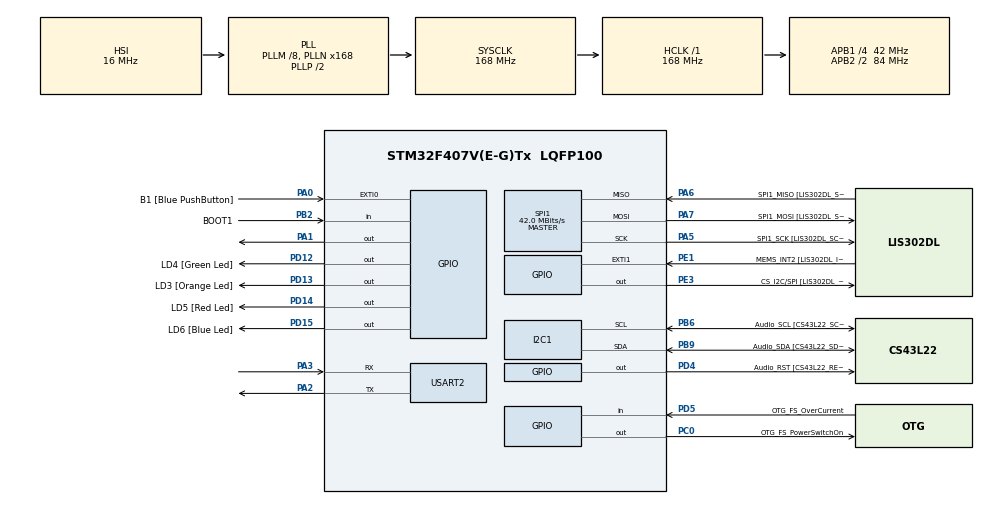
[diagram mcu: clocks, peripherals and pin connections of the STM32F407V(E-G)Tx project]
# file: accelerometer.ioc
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Mcu.Family=STM32F4
Mcu.Name=STM32F407V(E-G)Tx
Mcu.Package=LQFP100
NVIC.PriorityGroup=NVIC_PRIORITYGROUP_0
NVIC.SPI1_IRQn=true\:0\:0\:false\:false\:true\:true
NVIC.TIM6_DAC_IRQn=true\:0\:0\:false\:false\:true\:true
NVIC.USART2_IRQn=true\:0\:0\:false\:false\:true\:true
PA0-WKUP.GPIO_Label=B1 [Blue PushButton]
PA0-WKUP.Signal=GPXTI0
PA1.Signal=GPIO_Output
PA10.GPIO_Label=OTG_FS_ID
PA10.GPIO_Mode=GPIO_MODE_AF_PP
PA10.GPIO_PuPd=GPIO_NOPULL
PA10.GPIO_Speed=GPIO_SPEED_FREQ_LOW
PA10.Signal=USB_OTG_FS_ID
PA11.GPIO_Label=OTG_FS_DM
PA11.GPIO_Mode=GPIO_MODE_AF_PP
PA11.GPIO_PuPd=GPIO_NOPULL
PA11.GPIO_Speed=GPIO_SPEED_FREQ_LOW
PA11.Signal=USB_OTG_FS_DM
PA12.GPIO_Label=OTG_FS_DP
PA12.GPIO_Mode=GPIO_MODE_AF_PP
PA12.GPIO_PuPd=GPIO_NOPULL
PA12.GPIO_Speed=GPIO_SPEED_FREQ_LOW
PA12.Signal=USB_OTG_FS_DP
PA13.GPIO_Label=SWDIO
PA13.Signal=SYS_JTMS-SWDIO
PA14.GPIO_Label=SWCLK
PA14.Signal=SYS_JTCK-SWCLK
PA2.Mode=Asynchronous
PA2.Signal=USART2_TX
PA3.Mode=Asynchronous
PA3.Signal=USART2_RX
PA4.GPIO_Label=I2S3_WS [CS43L22_LRCK]
PA4.GPIO_Mode=GPIO_MODE_AF_PP
PA4.GPIO_PuPd=GPIO_NOPULL
PA4.GPIO_Speed=GPIO_SPEED_FREQ_LOW
PA4.Signal=I2S3_WS
PA5.GPIO_Label=SPI1_SCK [LIS302DL_SCL/SPC]
PA5.GPIO_Mode=GPIO_MODE_AF_PP
PA5.GPIO_PuPd=GPIO_NOPULL
PA5.GPIO_Speed=GPIO_SPEED_FREQ_LOW
PA5.Mode=Full_Duplex_Master
PA5.Signal=SPI1_SCK
PA6.GPIO_Label=SPI1_MISO [LIS302DL_SDO]
PA6.GPIO_Mode=GPIO_MODE_AF_PP
PA6.GPIO_PuPd=GPIO_NOPULL
PA6.GPIO_Speed=GPIO_SPEED_FREQ_LOW
PA6.Mode=Full_Duplex_Master
PA6.Signal=SPI1_MISO
PA7.GPIO_Label=SPI1_MOSI [LIS302DL_SDA/SDI/SDO]
PA7.GPIO_Mode=GPIO_MODE_AF_PP
PA7.GPIO_PuPd=GPIO_NOPULL
PA7.GPIO_Speed=GPIO_SPEED_FREQ_LOW
PA7.Mode=Full_Duplex_Master
PA7.Signal=SPI1_MOSI
PA9.GPIO_Label=VBUS_FS
PA9.GPIO_Mode=GPIO_MODE_INPUT
PA9.GPIO_PuPd=GPIO_NOPULL
PA9.Signal=USB_OTG_FS_VBUS
PB10.GPIO_Label=CLK_IN [MP45DT02_CLK]
PB10.GPIO_Mode=GPIO_MODE_AF_PP
PB10.GPIO_PuPd=GPIO_NOPULL
PB10.GPIO_Speed=GPIO_SPEED_FREQ_LOW
PB10.Signal=I2S2_CK
PB2.GPIO_Label=BOOT1
PB2.GPIO_Mode=GPIO_MODE_INPUT
PB2.GPIO_PuPd=GPIO_NOPULL
PB2.Signal=GPIO_Input
PB3.GPIO_Label=SWO
PB3.Signal=SYS_JTDO-SWO
PB6.GPIO_Label=Audio_SCL [CS43L22_SCL]
PB6.GPIO_Mode=GPIO_MODE_AF_OD
PB6.GPIO_PuPd=GPIO_NOPULL
PB6.GPIO_Speed=GPIO_SPEED_FREQ_LOW
PB6.Mode=I2C
PB6.Signal=I2C1_SCL
PB9.GPIO_Label=Audio_SDA [CS43L22_SDA]
PB9.GPIO_Mode=GPIO_MODE_AF_OD
PB9.GPIO_PuPd=GPIO_NOPULL
PB9.GPIO_Speed=GPIO_SPEED_FREQ_LOW
PB9.Mode=I2C
PB9.Signal=I2C1_SDA
PC0.GPIO_Label=OTG_FS_PowerSwitchOn
PC0.GPIO_PuPd=GPIO_NOPULL
PC0.GPIO_Speed=GPIO_SPEED_FREQ_LOW
PC0.PinState=GPIO_PIN_SET
PC0.Signal=GPIO_Output
PC10.GPIO_Label=I2S3_SCK [CS43L22_SCLK]
PC10.GPIO_Mode=GPIO_MODE_AF_PP
PC10.GPIO_PuPd=GPIO_NOPULL
PC10.GPIO_Speed=GPIO_SPEED_FREQ_LOW
PC10.Signal=I2S3_CK
PC12.GPIO_Label=I2S3_SD [CS43L22_SDIN]
PC12.GPIO_Mode=GPIO_MODE_AF_PP
PC12.GPIO_PuPd=GPIO_NOPULL
PC12.GPIO_Speed=GPIO_SPEED_FREQ_LOW
PC12.Signal=I2S3_SD
PC14-OSC32_IN.GPIO_Label=PC14-OSC32_IN
PC14-OSC32_IN.Signal=RCC_OSC32_IN
PC15-OSC32_OUT.GPIO_Label=PC15-OSC32_OUT
PC15-OSC32_OUT.Signal=RCC_OSC32_OUT
PC3.GPIO_Label=PDM_OUT [MP45DT02_DOUT]
PC3.GPIO_Mode=GPIO_MODE_AF_PP
PC3.GPIO_PuPd=GPIO_NOPULL
PC3.GPIO_Speed=GPIO_SPEED_FREQ_LOW
PC3.Signal=I2S2_SD
PC7.GPIO_Label=I2S3_MCK [CS43L22_MCLK]
PC7.GPIO_Mode=GPIO_MODE_AF_PP
PC7.GPIO_PuPd=GPIO_NOPULL
PC7.GPIO_Speed=GPIO_SPEED_FREQ_LOW
PC7.Signal=I2S3_MCK
PD12.GPIO_Label=LD4 [Green Led]
PD12.GPIO_PuPd=GPIO_NOPULL
PD12.GPIO_Speed=GPIO_SPEED_FREQ_LOW
PD12.Signal=GPIO_Output
PD13.GPIO_Label=LD3 [Orange Led]
PD13.GPIO_PuPd=GPIO_NOPULL
PD13.GPIO_Speed=GPIO_SPEED_FREQ_LOW
PD13.Signal=GPIO_Output
PD14.GPIO_Label=LD5 [Red Led]
PD14.GPIO_PuPd=GPIO_NOPULL
PD14.GPIO_Speed=GPIO_SPEED_FREQ_LOW
PD14.Signal=GPIO_Output
PD15.GPIO_Label=LD6 [Blue Led]
PD15.GPIO_PuPd=GPIO_NOPULL
PD15.GPIO_Speed=GPIO_SPEED_FREQ_LOW
PD15.Signal=GPIO_Output
PD4.GPIO_Label=Audio_RST [CS43L22_RESET]
PD4.GPIO_PuPd=GPIO_NOPULL
PD4.GPIO_Speed=GPIO_SPEED_FREQ_LOW
PD4.Signal=GPIO_Output
PD5.GPIO_Label=OTG_FS_OverCurrent
PD5.GPIO_Mode=GPIO_MODE_INPUT
PD5.GPIO_PuPd=GPIO_NOPULL
PD5.Signal=GPIO_Input
PE1.GPIO_Label=MEMS_INT2 [LIS302DL_INT2]
PE1.GPIO_ModeDefaultEXTI=GPIO_MODE_EVT_RISING
PE1.GPIO_PuPd=GPIO_NOPULL
PE1.Signal=GPXTI1
PE3.GPIO_Label=CS_I2C/SPI [LIS302DL_CS_I2C/SPI]
PE3.GPIO_PuPd=GPIO_NOPULL
PE3.GPIO_Speed=GPIO_SPEED_FREQ_LOW
PE3.Signal=GPIO_Output
PH0-OSC_IN.GPIO_Label=PH0-OSC_IN
PH0-OSC_IN.Signal=RCC_OSC_IN
PH1-OSC_OUT.GPIO_Label=PH1-OSC_OUT
PH1-OSC_OUT.Signal=RCC_OSC_OUT
ProjectManager.HeapSize=0x200
ProjectManager.StackSize=0x400
ProjectManager.TargetToolchain=SW4STM32
RCC.48MHZClocksFreq_Value=48000000
RCC.AHBFreq_Value=168000000
RCC.APB1CLKDivider=RCC_HCLK_DIV4
RCC.APB1Freq_Value=42000000
RCC.APB1TimFreq_Value=84000000
RCC.APB2CLKDivider=RCC_HCLK_DIV2
RCC.APB2Freq_Value=84000000
RCC.APB2TimFreq_Value=168000000
RCC.CortexFreq_Value=168000000
RCC.HCLKFreq_Value=168000000
RCC.HSE_VALUE=8000000
RCC.HSI_VALUE=16000000
RCC.LSE_VALUE=32768
RCC.PLLM=8
RCC.PLLN=168
RCC.PLLQ=7
RCC.SYSCLKFreq_VALUE=168000000
RCC.SYSCLKSource=RCC_SYSCLKSOURCE_PLLCLK
RCC.VCOOutputFreq_Value=336000000
SPI1.CalculateBaudRate=42.0 MBits/s
SPI1.Direction=SPI_DIRECTION_2LINES
SPI1.Mode=SPI_MODE_MASTER
SPI1.VirtualType=VM_MASTER
USART2.VirtualMode=VM_ASYNC
VP_TIM6_VS_ClockSourceINT.Mode=Enable_Timer
board=STM32F4DISCOVERY

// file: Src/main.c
/**
  ******************************************************************************
  * File Name          : main.c
  * Description        : Main program body
  ******************************************************************************
  ** This notice applies to any and all portions of this file
  * that are not between comment pairs USER CODE BEGIN and
  * USER CODE END. Other portions of this file, whether
  * inserted by the user or by software development tools
  * are owned by their respective copyright owners.
  *
  * COPYRIGHT(c) 2017 STMicroelectronics
  *
  * Redistribution and use in source and binary forms, with or without modification,
  * are permitted provided that the following conditions are met:
  *   1. Redistributions of source code must retain the above copyright notice,
  *      this list of conditions and the following disclaimer.
  *   2. Redistributions in binary form must reproduce the above copyright notice,
  *      this list of conditions and the following disclaimer in the documentation
  *      and/or other materials provided with the distribution.
  *   3. Neither the name of STMicroelectronics nor the names of its contributors
  *      may be used to endorse or promote products derived from this software
  *      without specific prior written permission.
  *
  * THIS SOFTWARE IS PROVIDED BY THE COPYRIGHT HOLDERS AND CONTRIBUTORS "AS IS"
  * AND ANY EXPRESS OR IMPLIED WARRANTIES, INCLUDING, BUT NOT LIMITED TO, THE
  * IMPLIED WARRANTIES OF MERCHANTABILITY AND FITNESS FOR A PARTICULAR PURPOSE ARE
  * DISCLAIMED. IN NO EVENT SHALL THE COPYRIGHT HOLDER OR CONTRIBUTORS BE LIABLE
  * FOR ANY DIRECT, INDIRECT, INCIDENTAL, SPECIAL, EXEMPLARY, OR CONSEQUENTIAL
  * DAMAGES (INCLUDING, BUT NOT LIMITED TO, PROCUREMENT OF SUBSTITUTE GOODS OR
  * SERVICES; LOSS OF USE, DATA, OR PROFITS; OR BUSINESS INTERRUPTION) HOWEVER
  * CAUSED AND ON ANY THEORY OF LIABILITY, WHETHER IN CONTRACT, STRICT LIABILITY,
  * OR TORT (INCLUDING NEGLIGENCE OR OTHERWISE) ARISING IN ANY WAY OUT OF THE USE
  * OF THIS SOFTWARE, EVEN IF ADVISED OF THE POSSIBILITY OF SUCH DAMAGE.
  *
  ******************************************************************************
  */

#include "main.h"
#include "stm32f4xx_hal.h"

/* USER CODE BEGIN Includes */
#include "stm32f4_discovery.h"
#include "stdio.h"
/* USER CODE END Includes */

I2C_HandleTypeDef hi2c1;

SPI_HandleTypeDef hspi1;

TIM_HandleTypeDef htim6;

UART_HandleTypeDef huart2;

/* USER CODE BEGIN PV */
/* Private variables ---------------------------------------------------------*/
static uint8_t echo_char;
static uint32_t timer_ms;
/* USER CODE END PV */

void SystemClock_Config(void);
static void MX_GPIO_Init(void);
static void MX_I2C1_Init(void);
static void MX_USART2_UART_Init(void);
static void MX_SPI1_Init(void);
static void MX_TIM6_Init(void);

/* USER CODE BEGIN PFP */
/* Private function prototypes -----------------------------------------------*/

/* We need to implement own __FILE struct */
/* FILE struct is used from __FILE */
struct __FILE {
    int dummy;
};

/* You need this if you want use printf */
/* Struct FILE is implemented in stdio.h */
FILE __stdout;
/* USER CODE END PFP */

/* USER CODE BEGIN 0 */
void HAL_TIM_PeriodElapsedCallback(TIM_HandleTypeDef *htim){
	BSP_LED_Toggle(LED3);
	HAL_GPIO_TogglePin(GPIOA, GPIO_PIN_1);
	timer_ms = 1;
	return;
}

int __io_putchar(uint8_t ch) {
	/* Do your stuff here */
	/* Send your custom byte */
	HAL_UART_StateTypeDef state;
	state = HAL_UART_GetState(&huart2);

	while (state == HAL_UART_STATE_BUSY_TX){
		state = HAL_UART_GetState(&huart2);
	}
	HAL_UART_Transmit(&huart2, &ch, 1, 5000);

	/* If everything is OK, you have to return character written */
	return ch;
	/* If character is not correct, you can return EOF (-1) to stop writing */
	//return -1;
}

/* USER CODE END 0 */

int main(void)
{

  /* MCU Configuration----------------------------------------------------------*/

  /* Reset of all peripherals, Initializes the Flash interface and the Systick. */
  HAL_Init();

  /* Configure the system clock */
  SystemClock_Config();

  /* Initialize all configured peripherals */
  MX_GPIO_Init();
  MX_I2C1_Init();
  MX_USART2_UART_Init();
  MX_SPI1_Init();
  MX_TIM6_Init();

  /* USER CODE BEGIN 2 */
  BSP_ACCELERO_Init();
  HAL_UART_Receive_IT(&huart2, &echo_char, 1);
  BSP_LED_Init(LED3);
  BSP_LED_Init(LED4);
  BSP_LED_Init(LED5);
  BSP_LED_Init(LED6);

  htim6.Init.Prescaler =  (uint32_t) (SystemCoreClock / 100000) - 1; // increase divider so we have more room in Period
  htim6.Init.CounterMode = TIM_COUNTERMODE_UP;
  htim6.Init.Period = 25000; // 1 Second rising edge to rising edge
  //htim6.Init.Period = 2500; // 100mS rising edge to rising edge
  //htim6.Init.Period = 25; // 1mS rising edge to rising edge
  htim6.Init.ClockDivision = TIM_CLOCKDIVISION_DIV1;
  htim6.Channel = HAL_TIM_ACTIVE_CHANNEL_CLEARED;
  htim6.hdma[0] = NULL;
  htim6.State = HAL_TIM_STATE_RESET;
  HAL_TIM_Base_Init(&htim6);
  HAL_TIM_Base_Start_IT(&htim6);
  HAL_GPIO_WritePin(GPIOA, GPIO_PIN_1, GPIO_PIN_RESET);
  /* USER CODE END 2 */

  /* Infinite loop */
  /* USER CODE BEGIN WHILE */

  timer_ms = 0;
  while (1)
  {
	  int16_t XYZ[3];

	  if (timer_ms){
		  BSP_ACCELERO_GetXYZ(&XYZ[0]);
		  timer_ms = 0;
		  printf("ACC: 0x%x  0x%x  0x%x\r\n", XYZ[0], XYZ[1], XYZ[2]);
	  }
  /* USER CODE END WHILE */

  }

}

/** System Clock Configuration
*/
void SystemClock_Config(void)
{

  RCC_OscInitTypeDef RCC_OscInitStruct;
  RCC_ClkInitTypeDef RCC_ClkInitStruct;

    /**Configure the main internal regulator output voltage
    */
  __HAL_RCC_PWR_CLK_ENABLE();

  __HAL_PWR_VOLTAGESCALING_CONFIG(PWR_REGULATOR_VOLTAGE_SCALE1);

    /**Initializes the CPU, AHB and APB busses clocks
    */
  RCC_OscInitStruct.OscillatorType = RCC_OSCILLATORTYPE_HSI;
  RCC_OscInitStruct.HSIState = RCC_HSI_ON;
  RCC_OscInitStruct.HSICalibrationValue = 16;
  RCC_OscInitStruct.PLL.PLLState = RCC_PLL_ON;
  RCC_OscInitStruct.PLL.PLLSource = RCC_PLLSOURCE_HSI;
  RCC_OscInitStruct.PLL.PLLM = 8;
  RCC_OscInitStruct.PLL.PLLN = 168;
  RCC_OscInitStruct.PLL.PLLP = RCC_PLLP_DIV2;
  RCC_OscInitStruct.PLL.PLLQ = 7;
  if (HAL_RCC_OscConfig(&RCC_OscInitStruct) != HAL_OK)
  {
    _Error_Handler(__FILE__, __LINE__);
  }

    /**Initializes the CPU, AHB and APB busses clocks
    */
  RCC_ClkInitStruct.ClockType = RCC_CLOCKTYPE_HCLK|RCC_CLOCKTYPE_SYSCLK
                              |RCC_CLOCKTYPE_PCLK1|RCC_CLOCKTYPE_PCLK2;
  RCC_ClkInitStruct.SYSCLKSource = RCC_SYSCLKSOURCE_PLLCLK;
  RCC_ClkInitStruct.AHBCLKDivider = RCC_SYSCLK_DIV1;
  RCC_ClkInitStruct.APB1CLKDivider = RCC_HCLK_DIV4;
  RCC_ClkInitStruct.APB2CLKDivider = RCC_HCLK_DIV2;

  if (HAL_RCC_ClockConfig(&RCC_ClkInitStruct, FLASH_LATENCY_5) != HAL_OK)
  {
    _Error_Handler(__FILE__, __LINE__);
  }

    /**Configure the Systick interrupt time
    */
  HAL_SYSTICK_Config(HAL_RCC_GetHCLKFreq()/1000);

    /**Configure the Systick
    */
  HAL_SYSTICK_CLKSourceConfig(SYSTICK_CLKSOURCE_HCLK);

  /* SysTick_IRQn interrupt configuration */
  HAL_NVIC_SetPriority(SysTick_IRQn, 0, 0);
}

/* I2C1 init function */
static void MX_I2C1_Init(void)
{

  hi2c1.Instance = I2C1;
  hi2c1.Init.ClockSpeed = 100000;
  hi2c1.Init.DutyCycle = I2C_DUTYCYCLE_2;
  hi2c1.Init.OwnAddress1 = 0;
  hi2c1.Init.AddressingMode = I2C_ADDRESSINGMODE_7BIT;
  hi2c1.Init.DualAddressMode = I2C_DUALADDRESS_DISABLE;
  hi2c1.Init.OwnAddress2 = 0;
  hi2c1.Init.GeneralCallMode = I2C_GENERALCALL_DISABLE;
  hi2c1.Init.NoStretchMode = I2C_NOSTRETCH_DISABLE;
  if (HAL_I2C_Init(&hi2c1) != HAL_OK)
  {
    _Error_Handler(__FILE__, __LINE__);
  }

}

/* SPI1 init function */
static void MX_SPI1_Init(void)
{

  /* SPI1 parameter configuration*/
  hspi1.Instance = SPI1;
  hspi1.Init.Mode = SPI_MODE_MASTER;
  hspi1.Init.Direction = SPI_DIRECTION_2LINES;
  hspi1.Init.DataSize = SPI_DATASIZE_8BIT;
  hspi1.Init.CLKPolarity = SPI_POLARITY_LOW;
  hspi1.Init.CLKPhase = SPI_PHASE_1EDGE;
  hspi1.Init.NSS = SPI_NSS_SOFT;
  hspi1.Init.BaudRatePrescaler = SPI_BAUDRATEPRESCALER_2;
  hspi1.Init.FirstBit = SPI_FIRSTBIT_MSB;
  hspi1.Init.TIMode = SPI_TIMODE_DISABLE;
  hspi1.Init.CRCCalculation = SPI_CRCCALCULATION_DISABLE;
  hspi1.Init.CRCPolynomial = 10;
  if (HAL_SPI_Init(&hspi1) != HAL_OK)
  {
    _Error_Handler(__FILE__, __LINE__);
  }

}

/* TIM6 init function */
static void MX_TIM6_Init(void)
{

  TIM_MasterConfigTypeDef sMasterConfig;

  htim6.Instance = TIM6;
  htim6.Init.Prescaler = 0;
  htim6.Init.CounterMode = TIM_COUNTERMODE_UP;
  htim6.Init.Period = 0;
  if (HAL_TIM_Base_Init(&htim6) != HAL_OK)
  {
    _Error_Handler(__FILE__, __LINE__);
  }

  sMasterConfig.MasterOutputTrigger = TIM_TRGO_RESET;
  sMasterConfig.MasterSlaveMode = TIM_MASTERSLAVEMODE_DISABLE;
  if (HAL_TIMEx_MasterConfigSynchronization(&htim6, &sMasterConfig) != HAL_OK)
  {
    _Error_Handler(__FILE__, __LINE__);
  }

}

/* USART2 init function */
static void MX_USART2_UART_Init(void)
{

  huart2.Instance = USART2;
  huart2.Init.BaudRate = 115200;
  huart2.Init.WordLength = UART_WORDLENGTH_8B;
  huart2.Init.StopBits = UART_STOPBITS_1;
  huart2.Init.Parity = UART_PARITY_NONE;
  huart2.Init.Mode = UART_MODE_TX;
  huart2.Init.HwFlowCtl = UART_HWCONTROL_NONE;
  huart2.Init.OverSampling = UART_OVERSAMPLING_16;
  if (HAL_UART_Init(&huart2) != HAL_OK)
  {
    _Error_Handler(__FILE__, __LINE__);
  }

}

/** Configure pins as
        * Analog
        * Input
        * Output
        * EVENT_OUT
        * EXTI
     PC3   ------> I2S2_SD
     PA4   ------> I2S3_WS
     PB10   ------> I2S2_CK
     PC7   ------> I2S3_MCK
     PA9   ------> USB_OTG_FS_VBUS
     PA10   ------> USB_OTG_FS_ID
     PA11   ------> USB_OTG_FS_DM
     PA12   ------> USB_OTG_FS_DP
     PC10   ------> I2S3_CK
     PC12   ------> I2S3_SD
*/
static void MX_GPIO_Init(void)
{

  GPIO_InitTypeDef GPIO_InitStruct;

  /* GPIO Ports Clock Enable */
  __HAL_RCC_GPIOE_CLK_ENABLE();
  __HAL_RCC_GPIOC_CLK_ENABLE();
  __HAL_RCC_GPIOH_CLK_ENABLE();
  __HAL_RCC_GPIOA_CLK_ENABLE();
  __HAL_RCC_GPIOB_CLK_ENABLE();
  __HAL_RCC_GPIOD_CLK_ENABLE();

  /*Configure GPIO pin Output Level */
  HAL_GPIO_WritePin(CS_I2C_SPI_GPIO_Port, CS_I2C_SPI_Pin, GPIO_PIN_RESET);

  /*Configure GPIO pin Output Level */
  HAL_GPIO_WritePin(OTG_FS_PowerSwitchOn_GPIO_Port, OTG_FS_PowerSwitchOn_Pin, GPIO_PIN_SET);

  /*Configure GPIO pin Output Level */
  HAL_GPIO_WritePin(GPIOA, GPIO_PIN_1, GPIO_PIN_RESET);

  /*Configure GPIO pin Output Level */
  HAL_GPIO_WritePin(GPIOD, LD4_Pin|LD3_Pin|LD5_Pin|LD6_Pin
                          |Audio_RST_Pin, GPIO_PIN_RESET);

  /*Configure GPIO pin : CS_I2C_SPI_Pin */
  GPIO_InitStruct.Pin = CS_I2C_SPI_Pin;
  GPIO_InitStruct.Mode = GPIO_MODE_OUTPUT_PP;
  GPIO_InitStruct.Pull = GPIO_NOPULL;
  GPIO_InitStruct.Speed = GPIO_SPEED_FREQ_LOW;
  HAL_GPIO_Init(CS_I2C_SPI_GPIO_Port, &GPIO_InitStruct);

  /*Configure GPIO pin : OTG_FS_PowerSwitchOn_Pin */
  GPIO_InitStruct.Pin = OTG_FS_PowerSwitchOn_Pin;
  GPIO_InitStruct.Mode = GPIO_MODE_OUTPUT_PP;
  GPIO_InitStruct.Pull = GPIO_NOPULL;
  GPIO_InitStruct.Speed = GPIO_SPEED_FREQ_LOW;
  HAL_GPIO_Init(OTG_FS_PowerSwitchOn_GPIO_Port, &GPIO_InitStruct);

  /*Configure GPIO pin : PDM_OUT_Pin */
  GPIO_InitStruct.Pin = PDM_OUT_Pin;
  GPIO_InitStruct.Mode = GPIO_MODE_AF_PP;
  GPIO_InitStruct.Pull = GPIO_NOPULL;
  GPIO_InitStruct.Speed = GPIO_SPEED_FREQ_LOW;
  GPIO_InitStruct.Alternate = GPIO_AF5_SPI2;
  HAL_GPIO_Init(PDM_OUT_GPIO_Port, &GPIO_InitStruct);

  /*Configure GPIO pin : B1_Pin */
  GPIO_InitStruct.Pin = B1_Pin;
  GPIO_InitStruct.Mode = GPIO_MODE_IT_RISING;
  GPIO_InitStruct.Pull = GPIO_NOPULL;
  HAL_GPIO_Init(B1_GPIO_Port, &GPIO_InitStruct);

  /*Configure GPIO pin : PA1 */
  GPIO_InitStruct.Pin = GPIO_PIN_1;
  GPIO_InitStruct.Mode = GPIO_MODE_OUTPUT_PP;
  GPIO_InitStruct.Pull = GPIO_NOPULL;
  GPIO_InitStruct.Speed = GPIO_SPEED_FREQ_LOW;
  HAL_GPIO_Init(GPIOA, &GPIO_InitStruct);

  /*Configure GPIO pin : I2S3_WS_Pin */
  GPIO_InitStruct.Pin = I2S3_WS_Pin;
  GPIO_InitStruct.Mode = GPIO_MODE_AF_PP;
  GPIO_InitStruct.Pull = GPIO_NOPULL;
  GPIO_InitStruct.Speed = GPIO_SPEED_FREQ_LOW;
  GPIO_InitStruct.Alternate = GPIO_AF6_SPI3;
  HAL_GPIO_Init(I2S3_WS_GPIO_Port, &GPIO_InitStruct);

  /*Configure GPIO pin : BOOT1_Pin */
  GPIO_InitStruct.Pin = BOOT1_Pin;
  GPIO_InitStruct.Mode = GPIO_MODE_INPUT;
  GPIO_InitStruct.Pull = GPIO_NOPULL;
  HAL_GPIO_Init(BOOT1_GPIO_Port, &GPIO_InitStruct);

  /*Configure GPIO pin : CLK_IN_Pin */
  GPIO_InitStruct.Pin = CLK_IN_Pin;
  GPIO_InitStruct.Mode = GPIO_MODE_AF_PP;
  GPIO_InitStruct.Pull = GPIO_NOPULL;
  GPIO_InitStruct.Speed = GPIO_SPEED_FREQ_LOW;
  GPIO_InitStruct.Alternate = GPIO_AF5_SPI2;
  HAL_GPIO_Init(CLK_IN_GPIO_Port, &GPIO_InitStruct);

  /*Configure GPIO pins : LD4_Pin LD3_Pin LD5_Pin LD6_Pin
                           Audio_RST_Pin */
  GPIO_InitStruct.Pin = LD4_Pin|LD3_Pin|LD5_Pin|LD6_Pin
                          |Audio_RST_Pin;
  GPIO_InitStruct.Mode = GPIO_MODE_OUTPUT_PP;
  GPIO_InitStruct.Pull = GPIO_NOPULL;
  GPIO_InitStruct.Speed = GPIO_SPEED_FREQ_LOW;
  HAL_GPIO_Init(GPIOD, &GPIO_InitStruct);

  /*Configure GPIO pins : I2S3_MCK_Pin I2S3_SCK_Pin I2S3_SD_Pin */
  GPIO_InitStruct.Pin = I2S3_MCK_Pin|I2S3_SCK_Pin|I2S3_SD_Pin;
  GPIO_InitStruct.Mode = GPIO_MODE_AF_PP;
  GPIO_InitStruct.Pull = GPIO_NOPULL;
  GPIO_InitStruct.Speed = GPIO_SPEED_FREQ_LOW;
  GPIO_InitStruct.Alternate = GPIO_AF6_SPI3;
  HAL_GPIO_Init(GPIOC, &GPIO_InitStruct);

  /*Configure GPIO pin : VBUS_FS_Pin */
  GPIO_InitStruct.Pin = VBUS_FS_Pin;
  GPIO_InitStruct.Mode = GPIO_MODE_INPUT;
  GPIO_InitStruct.Pull = GPIO_NOPULL;
  HAL_GPIO_Init(VBUS_FS_GPIO_Port, &GPIO_InitStruct);

  /*Configure GPIO pins : OTG_FS_ID_Pin OTG_FS_DM_Pin OTG_FS_DP_Pin */
  GPIO_InitStruct.Pin = OTG_FS_ID_Pin|OTG_FS_DM_Pin|OTG_FS_DP_Pin;
  GPIO_InitStruct.Mode = GPIO_MODE_AF_PP;
  GPIO_InitStruct.Pull = GPIO_NOPULL;
  GPIO_InitStruct.Speed = GPIO_SPEED_FREQ_LOW;
  GPIO_InitStruct.Alternate = GPIO_AF10_OTG_FS;
  HAL_GPIO_Init(GPIOA, &GPIO_InitStruct);

  /*Configure GPIO pin : OTG_FS_OverCurrent_Pin */
  GPIO_InitStruct.Pin = OTG_FS_OverCurrent_Pin;
  GPIO_InitStruct.Mode = GPIO_MODE_INPUT;
  GPIO_InitStruct.Pull = GPIO_NOPULL;
  HAL_GPIO_Init(OTG_FS_OverCurrent_GPIO_Port, &GPIO_InitStruct);

  /*Configure GPIO pin : MEMS_INT2_Pin */
  GPIO_InitStruct.Pin = MEMS_INT2_Pin;
  GPIO_InitStruct.Mode = GPIO_MODE_EVT_RISING;
  GPIO_InitStruct.Pull = GPIO_NOPULL;
  HAL_GPIO_Init(MEMS_INT2_GPIO_Port, &GPIO_InitStruct);

}

void _Error_Handler(char * file, int line)
{
  while(1)
  {
  }
}

/************************ (C) COPYRIGHT STMicroelectronics *****END OF FILE****/
